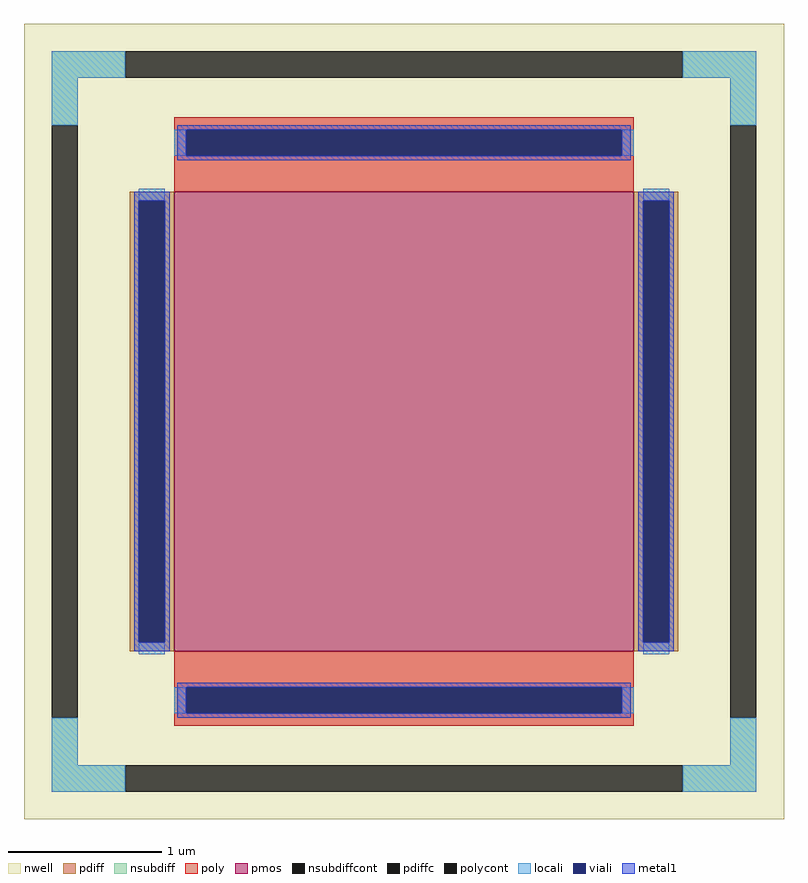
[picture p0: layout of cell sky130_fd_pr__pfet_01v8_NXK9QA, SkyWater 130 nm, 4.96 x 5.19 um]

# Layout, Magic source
magic
tech sky130A
magscale 1 2
<< nwell >>
rect -496 -519 496 519
<< pmos >>
rect -300 -300 300 300
<< pdiff >>
rect -358 288 -300 300
rect -358 -288 -346 288
rect -312 -288 -300 288
rect -358 -300 -300 -288
rect 300 288 358 300
rect 300 -288 312 288
rect 346 -288 358 288
rect 300 -300 358 -288
<< pdiffc >>
rect -346 -288 -312 288
rect 312 -288 346 288
<< nsubdiff >>
rect -460 449 -364 483
rect 364 449 460 483
rect -460 387 -426 449
rect 426 387 460 449
rect -460 -449 -426 -387
rect 426 -449 460 -387
rect -460 -483 -364 -449
rect 364 -483 460 -449
<< nsubdiffcont >>
rect -364 449 364 483
rect -460 -387 -426 387
rect 426 -387 460 387
rect -364 -483 364 -449
<< poly >>
rect -300 381 300 397
rect -300 347 -284 381
rect 284 347 300 381
rect -300 300 300 347
rect -300 -347 300 -300
rect -300 -381 -284 -347
rect 284 -381 300 -347
rect -300 -397 300 -381
<< polycont >>
rect -284 347 284 381
rect -284 -381 284 -347
<< locali >>
rect -460 449 -364 483
rect 364 449 460 483
rect -460 387 -426 449
rect 426 387 460 449
rect -300 347 -284 381
rect 284 347 300 381
rect -346 288 -312 304
rect -346 -304 -312 -288
rect 312 288 346 304
rect 312 -304 346 -288
rect -300 -381 -284 -347
rect 284 -381 300 -347
rect -460 -449 -426 -387
rect 426 -449 460 -387
rect -460 -483 -364 -449
rect 364 -483 460 -449
<< viali >>
rect -284 347 284 381
rect -346 -288 -312 288
rect 312 -288 346 288
rect -284 -381 284 -347
<< metal1 >>
rect -296 381 296 387
rect -296 347 -284 381
rect 284 347 296 381
rect -296 341 296 347
rect -352 288 -306 300
rect -352 -288 -346 288
rect -312 -288 -306 288
rect -352 -300 -306 -288
rect 306 288 352 300
rect 306 -288 312 288
rect 346 -288 352 288
rect 306 -300 352 -288
rect -296 -347 296 -341
rect -296 -381 -284 -347
rect 284 -381 296 -347
rect -296 -387 296 -381
<< properties >>
string FIXED_BBOX -443 -466 443 466
string gencell sky130_fd_pr__pfet_01v8
string library sky130
string parameters w 3 l 3 m 1 nf 1 diffcov 100 polycov 100 guard 1 glc 1 grc 1 gtc 1 gbc 1 tbcov 100 rlcov 100 topc 1 botc 1 poverlap 0 doverlap 1 lmin 0.15 wmin 0.42 compatible {sky130_fd_pr__pfet_01v8  sky130_fd_pr__pfet_01v8_lvt sky130_fd_pr__pfet_01v8_hvt  sky130_fd_pr__pfet_g5v0d10v5} full_metal 1 viasrc 100 viadrn 100 viagate 100 viagb 0 viagr 0 viagl 0 viagt 0
<< end >>
